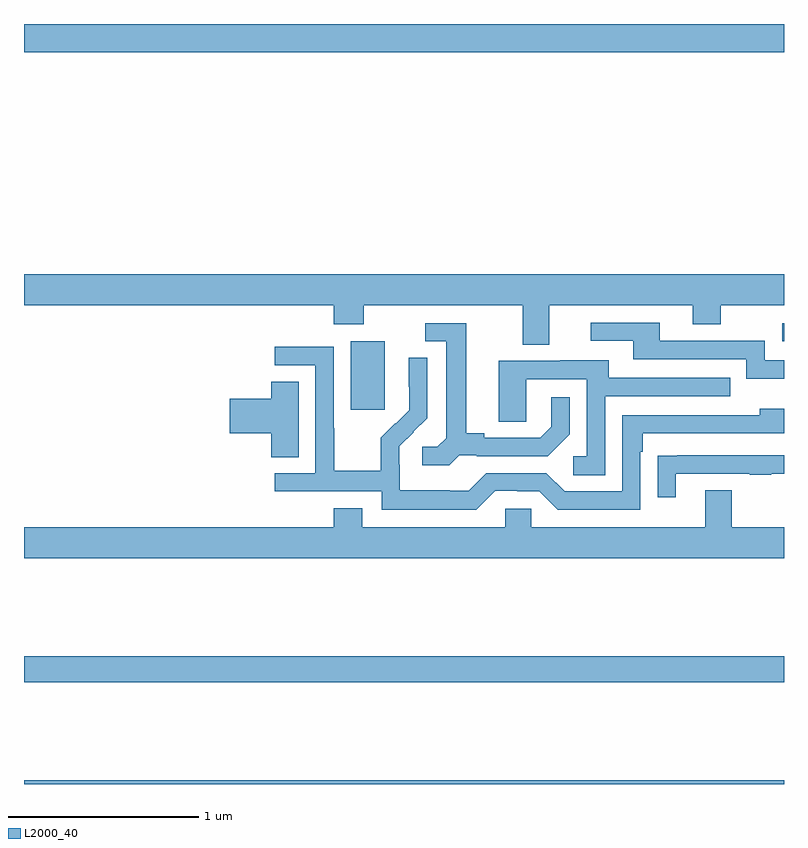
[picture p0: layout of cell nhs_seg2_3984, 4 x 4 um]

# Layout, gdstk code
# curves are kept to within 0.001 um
import gdstk
lib = gdstk.Library(unit=1e-6, precision=1e-09)
def R(c, l, rs):  # rectangles x0, y0, x1, y1
    for r in rs: c.add(gdstk.rectangle(r[:2], r[2:], *l))
def P(c, l, *ps):  # polygons
    for p in ps: c.add(gdstk.Polygon(p, *l))
L2000_40 = (2000, 40)

nhs_seg2_3984 = lib.new_cell('nhs_seg2_3984')
R(nhs_seg2_3984, L2000_40, [(323,627.8,327,627.82), (323,628.336,327,628.472), (324.719,629.769,324.898,630.13), (326.991,630.129,327,630.225), (323,631.652,327,631.8)])
P(nhs_seg2_3984, L2000_40, [(325.765,630.32),(326.519,630.32),(326.519,630.221),(326.667,630.221),(326.667,630.32),(327,630.32),(327,630.484),(323,630.484),(323,630.32),(324.629,630.32),(324.629,630.221),(324.789,630.221),(324.789,630.32),(325.625,630.32),(325.625,630.112),(325.765,630.112)],
  [(327,630.03),(326.898,630.03),(326.898,630.132),(326.347,630.132),(326.347,630.228),(325.983,630.228),(325.983,630.132),(326.207,630.132),(326.207,630.036),(326.802,630.036),(326.802,629.933),(327,629.933)],
  [(325.29,629.529),(325.384,629.529),(325.384,629.526),(325.756,629.526),(325.872,629.642),(325.872,629.836),(325.775,629.836),(325.775,629.679),(325.718,629.622),(325.423,629.622),(325.423,629.645),(325.327,629.645),(325.327,630.225),(325.113,630.225),(325.113,630.129),(325.223,630.129),(325.223,629.621),(325.176,629.574),(325.095,629.574),(325.095,629.477),(325.238,629.477)],
  [(325.479,629.343),(325.595,629.343),(325.595,629.34),(325.713,629.34),(325.809,629.244),(326.244,629.244),(326.244,629.549),(326.257,629.549),(326.257,629.646),(327,629.646),(327,629.776),(326.873,629.776),(326.873,629.742),(326.148,629.742),(326.148,629.34),(325.845,629.34),(325.749,629.436),(325.434,629.436),(325.341,629.343),(325.241,629.343),(325.241,629.347),(324.978,629.347),(324.978,629.481),(324.976,629.481),(324.976,629.578),(325.122,629.726),(325.122,630.044),(325.026,630.044),(325.026,629.89),(325.028,629.89),(325.028,629.768),(324.957,629.697),(324.954,629.7),(324.877,629.623),(324.877,629.449),(324.633,629.449),(324.633,629.672),(324.63,629.672),(324.63,630.102),(324.321,630.102),(324.321,630.003),(324.534,630.003),(324.534,629.436),(324.321,629.436),(324.321,629.34),(324.882,629.34),(324.882,629.243),(325.379,629.243)],
  [(326.058,629.841),(326.717,629.841),(326.717,629.937),(326.077,629.937),(326.077,630.031),(325.823,630.031),(325.823,630.027),(325.499,630.027),(325.499,629.707),(325.644,629.707),(325.644,629.931),(325.962,629.931),(325.962,629.526),(325.89,629.526),(325.89,629.425),(326.058,629.425)],
  [(324.445,629.918),(324.302,629.918),(324.302,629.828),(324.084,629.828),(324.084,629.645),(324.302,629.645),(324.302,629.521),(324.445,629.521)],
  [(326.431,629.433),(326.821,629.433),(326.821,629.428),(326.933,629.428),(326.933,629.433),(327,629.433),(327,629.529),(326.437,629.529),(326.437,629.528),(326.335,629.528),(326.335,629.31),(326.431,629.31)],
  [(325.533,629.25),(325.533,629.152),(324.781,629.152),(324.781,629.251),(324.629,629.251),(324.629,629.152),(323,629.152),(323,628.988),(327,628.988),(327,629.152),(326.725,629.152),(326.725,629.347),(326.585,629.347),(326.585,629.152),(325.671,629.152),(325.671,629.25)])

lib.write_gds('nhs_seg2_3984.gds')
